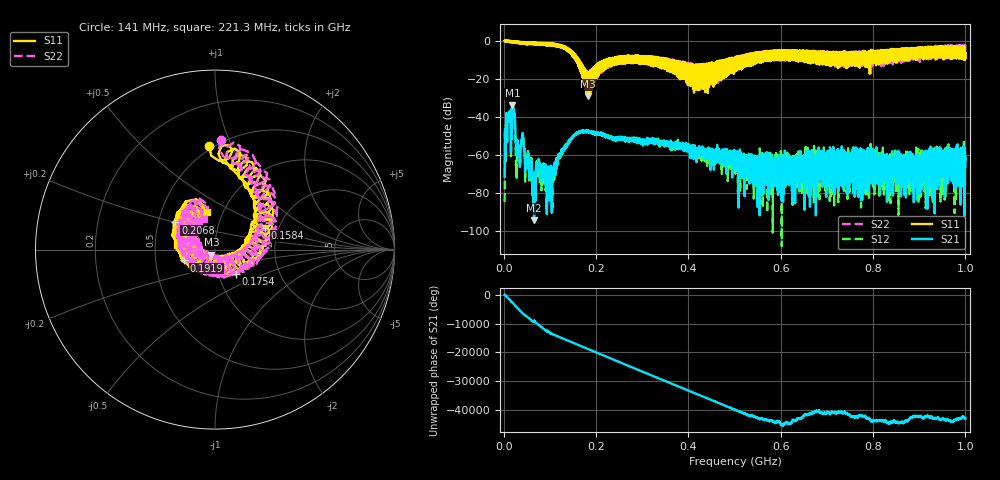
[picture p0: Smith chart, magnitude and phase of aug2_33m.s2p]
!Keysight Technologies N9923A: A.12.45
!Date: Saturday, 02 August 2025 19:22:43
!Timezone: (UTC+08:00) Kuala Lumpur, Singapore
!Model: N9923A
!Serial: MY61181427
!GPS Latitude:
!GPS Longitude:
!GPS TimeStamp: 0001-01-01 00:00:00Z
!GPS Seconds Since Last Read: 0
!CHECKSUM:1350243294
!Correction: S11(ON U)S21(ON U)S12(ON U)S22(ON U)
!S2P File: Measurements:S11,S21,S12,S22:
# Hz S DB R 50
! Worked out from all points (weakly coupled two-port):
!   4001 points, 2 MHz to 1 GHz, reference 50 ohm
!   highest |S21| = -34.05 dB at 18.97 MHz (marker M1); lowest = -94.6 dB at 65.87 MHz (marker M2)
!   lowest |S11| = -29.2 dB at 182.9 MHz (marker M3), VSWR 1.07, Z = 47.9 - j2.69 ohm
!   |S11| at or under -10 dB: 162.4 MHz to 223.4 MHz (61.02 MHz wide, 31.6 % of centre); 223.8 MHz to 225.1 MHz (1.3 MHz wide, 0.579 % of centre); 357.8 MHz to 483 MHz (125.2 MHz wide, 29.8 % of centre) (the widest 3 of 297)
!   |S22| runs from -29.7 to 0.1 dB; largest |S21 - S12| = 0.0024
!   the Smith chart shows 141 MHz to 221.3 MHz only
!   S11 on the Smith chart (normalised r, x): 141 MHz: 0.48, +0.82; 158.4 MHz: 1.70, +0.45; 175.4 MHz: 1.22, -0.34; 191.9 MHz: 0.70, -0.09; 206.8 MHz: 0.61, +0.20; 221.3 MHz: 0.84, +0.37
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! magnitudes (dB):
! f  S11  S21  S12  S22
! 2 MHz  -0.1  -71.8  -84.9  -0.1
! 7.739 MHz  -0.4  -46.9  -46.6  -0.4
! 18.97 MHz  -0.8  -34.0  -34.3  -0.8
! 30.69 MHz  -1.1  -56.7  -55.8  -1.2
! 40.92 MHz  -1.6  -48.8  -48.7  -1.6
! 65.87 MHz  -1.6  -94.6  -84.9  -1.6
! 75.1 MHz  -1.5  -62.8  -65.0  -1.4
! 103 MHz  -2.5  -80.8  -76.8  -2.4
! 141 MHz  -4.8  -52.9  -53.1  -4.3
! 158.4 MHz  -10.3  -49.0  -48.9  -10.8
! 168.4 MHz  -15.0  -48.0  -47.7  -16.0
! 175.4 MHz  -15.0  -47.8  -47.8  -15.7
! 182.9 MHz  -29.2  -47.8  -47.9  -24.9
! 191.9 MHz  -14.8  -48.0  -48.6  -15.8
! 206.8 MHz  -11.5  -49.1  -49.3  -12.5
! 221.3 MHz  -13.4  -49.7  -50.0  -14.9
! 334.8 MHz  -11.6  -53.0  -51.5  -9.4
! 417.2 MHz  -25.9  -58.8  -58.3  -15.9
! 501 MHz  -12.1  -65.8  -59.1  -14.1
! 667.4 MHz  -6.3  -66.7  -69.8  -10.8
! 833.8 MHz  -6.3  -68.5  -64.5  -8.2
! 1 GHz  -6.4  -66.4  -60.8  -2.8
